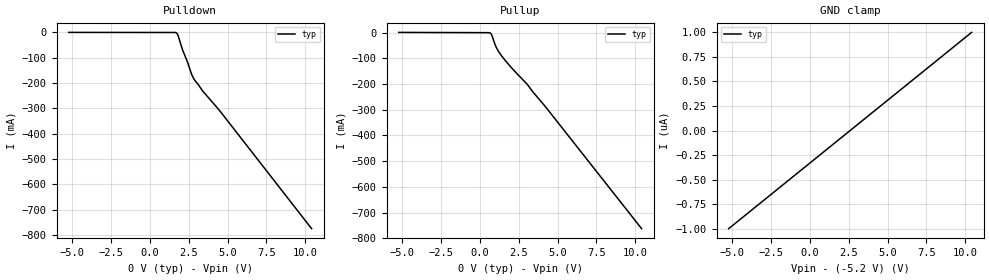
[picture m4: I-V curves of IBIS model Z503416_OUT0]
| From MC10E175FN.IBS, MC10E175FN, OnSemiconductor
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| (C) COPYRIGHT 1993-2000
| MENTOR GRAPHICS CORPORATION
| ICX STANDARD LIBRARY, ICX PROJECT MODELING,
| ICX CUSTOM MODELING, ICX VENDOR MODEL
| ALL RIGHTS RESERVED.
| THE FOLLOWING ARE TRADEMARKS OR SERVICE MARKS OF
| MENTOR GRAPHICS CORPORATION:ICX (R), ICX STANDARD
| LIBRARY(R), ICX PROJECT MODELING(R), ICX CUSTOM
| MODELING(R), qualityIBIS(TM), MODELVIEWER(TM),
| AND MODELEDITOR(TM)
| ALL COPIES OF SOFTWARE, INCLUDING BUT NOT LIMITED TO
| ANY MODIFICATIONS, ENHANCEMENTS OR DERIVATIVE WORKS,
| MUST CONTAIN ALL MENTOR GRAPHICS CORPORATION'S
| NOTICES AND LEGENDS, INCLUDING THOSE EMBEDDED IN
| SOFTWARE AND THOSE AFFIXED TO SOFTWARE MEDIUM
| AND CONTAINER, AS RECEIVED FROM MENTOR GRAPHICS
| CORPORATION.
| Model Application Version 1.89 2/18/99.
[Model] Z503416_OUT0
Model_type Output_ECL
Vref=-2.000V
Rref=50.00ohms
Cref=0.000F
Vmeas=-1.305V
C_comp 8.000pF NA NA
| variable typ   min   max
[Voltage Range] -5.200V NA NA
[POWER Clamp Reference] 0.000V NA NA
[Pullup Reference] 0.000V NA NA
[Pulldown Reference] 0.000V NA NA
[GND Clamp Reference] -5.200V NA NA
[GND Clamp]
-5.2V     -1uA       NA         NA
10.4V     1uA        NA         NA
[Pulldown]
-5.2V     361.7uA    NA         NA
1.587V    45.37uA    NA         NA
1.738V    -2.511mA   NA         NA
1.831V    -12.9mA    NA         NA
2.106V    -67.64mA   NA         NA
2.417V    -114.7mA   NA         NA
2.701V    -166.4mA   NA         NA
2.915V    -190.4mA   NA         NA
3.406V    -231.6mA   NA         NA
4.555V    -313.8mA   NA         NA
10.4V     -775.7mA   NA         NA
[Pullup]
-5.2V     967.6uA    NA         NA
547.4mV   -6.738uA   NA         NA
702.9mV   -2.418mA   NA         NA
794.7mV   -12.09mA   NA         NA
1.062V    -56.74mA   NA         NA
1.387V    -88.64mA   NA         NA
2.033V    -135.8mA   NA         NA
3.047V    -200.3mA   NA         NA
3.408V    -229.8mA   NA         NA
4.209V    -286.9mA   NA         NA
10.4V     -762.6mA   NA         NA
[POWER Clamp]
-5.2V     0A         NA         NA
10.4V     0A         NA         NA
[Ramp]
| variable typ min max
dV/dt_r 588.6m/336.9p NA NA
dV/dt_f 588.6m/469.5p NA NA
R_load = 500.0Ohms
